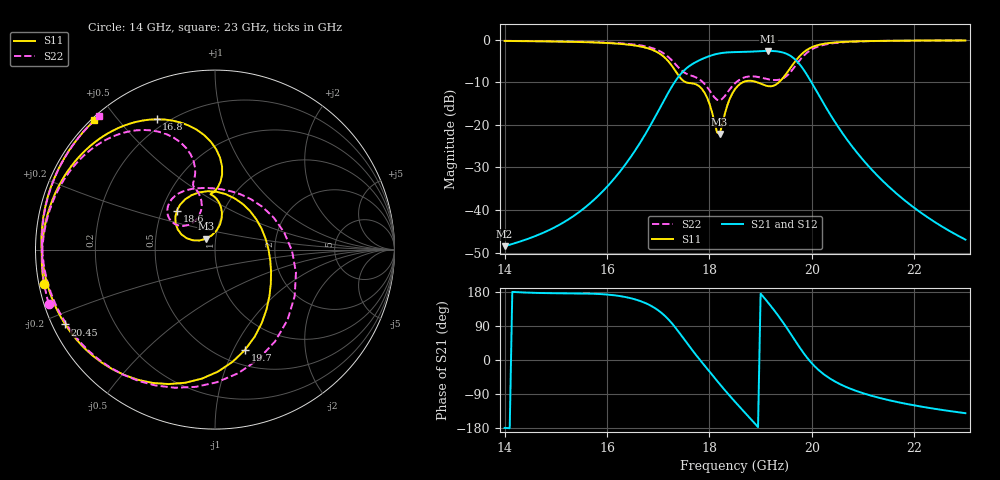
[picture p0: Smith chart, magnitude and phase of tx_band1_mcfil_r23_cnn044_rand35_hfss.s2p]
! Touchstone file exported from HFSS 3D Layout Design 2026.1.0
!  File:  D:/Work/SIM/ADS_AUTO_SIM/projects/RFSOC_RF/TX_Fillter.aedt
!  Generated:  01:37:46 AM Aug 31, 2026
!  Design:  TX_BAND1_MCFIL_R23_CNN044
!  Project:  TX_Fillter
# GHz S MA R 50.000000
! Terminal data exported
! Port[1] = Port1
! Port[2] = Port2
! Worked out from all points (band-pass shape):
!   181 points, 14 GHz to 23 GHz, reference 50 ohm
!   highest |S21| = -2.59 dB at 19.15 GHz (marker M1); lowest = -48.5 dB at 14 GHz (marker M2)
!   |S21| within 3 dB of the highest: 17.68 GHz to 19.75 GHz (2.07 GHz wide, 11.1 % of centre)
!   lowest |S11| = -22.1 dB at 18.2 GHz (marker M3), VSWR 1.17, Z = 44.9 + j5.44 ohm
!   |S11| at or under -10 dB: 17.55 GHz to 18.65 GHz (1.099 GHz wide, 6.07 % of centre); 18.94 GHz to 19.36 GHz (415.4 MHz wide, 2.17 % of centre)
!   |S22| runs from -14.2 to -0.1 dB; largest |S21 - S12| = 5.4e-15
!   S11 on the Smith chart (normalised r, x): 14 GHz: 0.01, -0.10; 16.8 GHz: 0.16, +0.64; 18.6 GHz: 0.60, +0.29; 19.7 GHz: 0.66, -1.11; 20.45 GHz: 0.04, -0.24; 23 GHz: 0.01, +0.43
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14  0.9721 -168.7  0.003755 -179.2  0.003755 -179.2  0.9743 -162.0
15.5  0.9436 160.5  0.009901 175.6  0.009901 175.6  0.95 168.9
16.25  0.8988 138.5  0.02813 168.8  0.02813 168.8  0.9129 149.1
16.8  0.7958 114.1  0.08799 147.1  0.08799 147.1  0.8277 128.2
17  0.7069 102.0  0.145 131.0  0.145 131.0  0.7534 118.2
17.3  0.4651 85.2  0.3043 91.6  0.3043 91.6  0.5478 104.4
17.55  0.3157 92.7  0.4623 46.7  0.4623 46.7  0.4001 107.2
17.9  0.2426 82.4  0.6118 -13.9  0.6118 -13.9  0.3056 105.6
18.2  0.07855 129.9  0.695 -63.2  0.695 -63.2  0.1944 129.7
18.5  0.2634 146.4  0.7185 -110.2  0.7185 -110.2  0.3087 145.8
18.6  0.304 134.3  0.7203 -125.1  0.7203 -125.1  0.3435 140.8
18.9  0.3223 88.4  0.7326 -169.5  0.7326 -169.5  0.3705 118.9
19.15  0.2855 35.9  0.7425 150.9  0.7425 150.9  0.3445 95.8
19.45  0.3647 -31.5  0.7064 96.9  0.7064 96.9  0.3556 42.2
19.7  0.5834 -73.4  0.569 45.9  0.569 45.9  0.5141 -30.3
19.85  0.7223 -95.7  0.4375 16.4  0.4375 16.4  0.658 -68.6
20  0.8201 -115.1  0.3122 -8.6  0.3122 -8.6  0.7728 -98.2
20.2  0.8916 -135.2  0.1926 -34.0  0.1926 -34.0  0.864 -126.2
20.45  0.9328 -153.5  0.1089 -56.6  0.1089 -56.6  0.9191 -149.4
20.85  0.96 -173.6  0.05003 -80.7  0.05003 -80.7  0.9553 -173.1
21.5  0.976 164.7  0.0189 -105.9  0.0189 -105.9  0.9752 163.3
23  0.9849 133.0  0.004485 -140.4  0.004485 -140.4  0.9849 131.0
